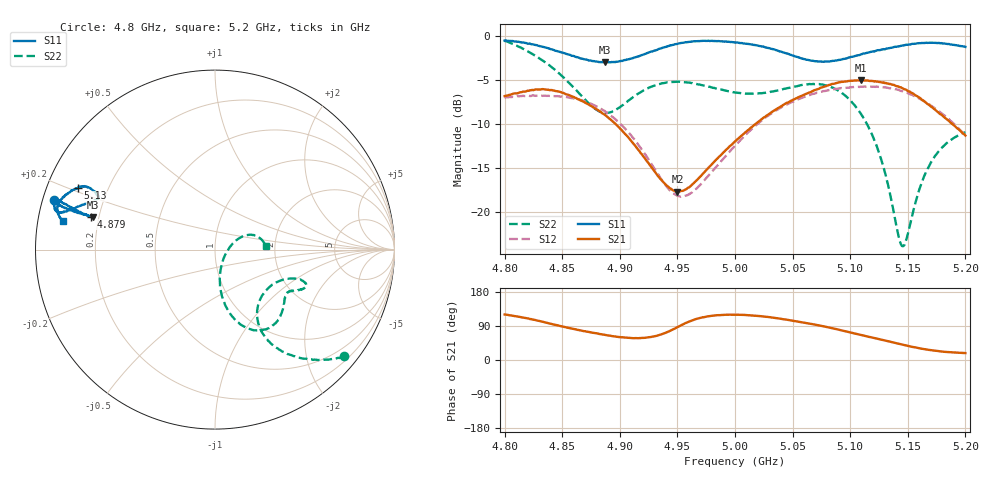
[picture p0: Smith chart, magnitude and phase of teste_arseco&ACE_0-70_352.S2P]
! Network Analyzer HP8722D
! Hewlett-Packard
! Data name: Linha & Wilkinson
! Saver's name: Rodrigo Anjos
! Comments: Teste da utilização de aquisição
! continua pelo VNA HP8722D
! Time and date: 8/5/2025 15:41
!  Frequency  S11  S21  S12  S22
# HZ  S  MA R 50
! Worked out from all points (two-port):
!   401 points, 4.8 GHz to 5.2 GHz, reference 50 ohm
!   highest |S21| = -5.07 dB at 5.109 GHz (marker M1); lowest = -17.7 dB at 4.95 GHz (marker M2)
!   |S21| within 3 dB of the highest: start of sweep to 4.876 GHz; 5.039 GHz to 5.17 GHz (130.8 MHz wide, 2.56 % of centre)
!   lowest |S11| = -3.0 dB at 4.887 GHz (marker M3), VSWR 5.76, Z = 8.82 + j6.33 ohm
!   |S11| at or under -10 dB: nowhere
!   |S22| runs from -23.9 to -0.6 dB; largest |S21 - S12| = 0.73
!   S11 on the Smith chart (normalised r, x): 4.8 GHz: 0.03, +0.15; 4.879 GHz: 0.17, +0.13; 5.13 GHz: 0.09, +0.21; 5.2 GHz: 0.07, +0.09
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4.8e9  0.9364 163.0  0.4537 120.2  0.4468 15.5  0.9326 -39.6
4.833e9  0.8642 164.4  0.4973 100.9  0.455 4.9  0.7215 -54.4
4.867e9  0.7401 164.8  0.4264 77.3  0.4304 -10.1  0.4536 -58.6
4.879e9  0.7131 165.0  0.3836 70.5  0.3991 -17.0  0.3823 -50.0
4.887e9  0.7043 165.1  0.3549 66.3  0.3734 -21.5  0.3647 -40.7
4.907e9  0.7328 165.1  0.2667 58.4  0.2854 -31.8  0.4258 -22.8
4.934e9  0.8402 163.6  0.1573 65.7  0.161 -29.3  0.5298 -19.9
4.95e9  0.8963 162.8  0.1306 86.6  0.1234 -7.8  0.5472 -22.0
4.965e9  0.928 162.8  0.1474 106.7  0.133 15.7  0.5338 -24.4
5e9  0.915 166.2  0.2512 119.5  0.2375 37.4  0.4753 -29.3
5.034e9  0.8348 164.4  0.3756 111.1  0.371 32.0  0.4839 -37.1
5.067e9  0.7203 157.5  0.4833 94.8  0.466 16.9  0.5309 -51.8
5.088e9  0.7229 155.0  0.5369 81.6  0.4981 5.2  0.4953 -64.8
5.109e9  0.7802 153.8  0.5581 66.4  0.5127 -7.7  0.3628 -76.9
5.121e9  0.8128 154.4  0.5486 57.9  0.5128 -15.3  0.2556 -81.6
5.13e9  0.8352 155.8  0.5376 51.5  0.5083 -21.2  0.1691 -80.9
5.134e9  0.848 156.4  0.5312 48.7  0.5027 -23.9  0.132 -77.3
5.142e9  0.8682 158.2  0.5139 42.9  0.4928 -29.2  0.07274 -51.5
5.146e9  0.8797 159.2  0.5005 40.0  0.4804 -31.8  0.06399 -23.3
5.16e9  0.9059 162.5  0.4448 31.0  0.4387 -40.1  0.1344 24.2
5.169e9  0.9099 164.4  0.4018 26.5  0.406 -44.8  0.1845 25.1
5.2e9  0.8627 169.3  0.271 18.3  0.2713 -54.1  0.2833 4.2
